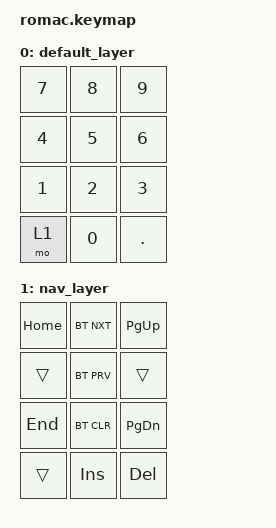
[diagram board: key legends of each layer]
/*
 * Copyright (c) 2020 The ZMK Contributors
 *
 * SPDX-License-Identifier: MIT
 */

#include <behaviors.dtsi>
#include <dt-bindings/zmk/keys.h>
#include <dt-bindings/zmk/bt.h>

/ {
    keymap {
        compatible = "zmk,keymap";

        default_layer {
// -------------------
// | 7      |  8  |  9  |
// | 4      |  5  |  6  |
// | 1      |  2  |  3  |
// | MO(1)  |  0  |  .  |
// ----------------------
            bindings = <
    &kp N7 &kp N8 &kp N9
    &kp N4 &kp N5 &kp N6
    &kp N1 &kp N2 &kp N3
    &mo 1  &kp N0 &kp DOT
            >;
        };

        nav_layer {
// -----------------------
// | BTNXT |  HOME  |  PGUP  |
// | BTPRV |  END   |  PGDN  |
// | BTCLR |  _     |  _     |
// | _     |  _     |  RET   |
// -----------------------
            bindings = <
    &kp HOME   &bt BT_NXT  &kp PG_UP
    &trans     &bt BT_PRV  &trans 
    &kp END    &bt BT_CLR  &kp PG_DN
    &trans     &kp INS     &kp DEL
            >;
        };
    };
};

